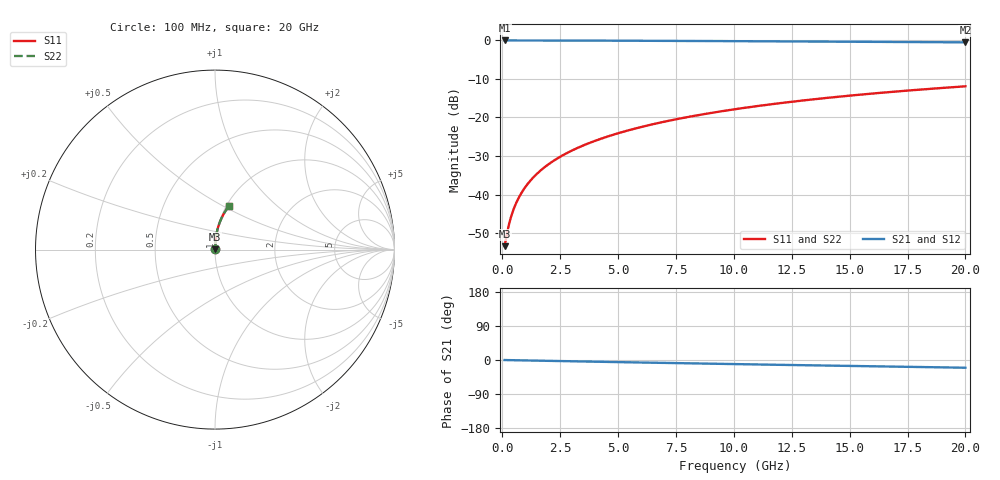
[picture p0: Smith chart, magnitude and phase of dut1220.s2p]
! Touchstone file exported from HFSS 2024.1.0
!  File:  C:/UserFiles/LocalFiles/RDL_TSV_Batchsim/temp_RDL_bottom_1220_1780244093.aedt
!  Generated:  12:17:34 AM Jun  1, 2026
!  Design:  RDL_bottom
!  Project:  temp_RDL_bottom_1220_1780244093
!  Setup:  Setup1
!  Solution:  Sweep
! Variables:
!  dtsv = 10.80580581um
!  hbump = 3um
!  htsv = 97.35um
!  ldown = 216.9um
!  lrdl = 100um
!  p = 40
!  p1 = 55.36um
!  rhole = 1um
!  t = 450um
!  tdown = 3.05um
!  trdl = 3.915915916um
!  wdown = 16.96um
!  wrdl = 20um
# GHz S MA R 50.000000
! Terminal data exported
! Port[1] = RDL1_T1
! Port[2] = RDL1_T2
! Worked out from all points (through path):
!   200 points, 100 MHz to 20 GHz, reference 50 ohm
!   highest |S21| = -0.01 dB at 100 MHz (marker M1); lowest = -0.5 dB at 20 GHz (marker M2)
!   group delay of S21, straight-line fit = 2.82 ps
!   lowest |S11| = -53.4 dB at 100 MHz (marker M3), VSWR 1.00, Z = 50.2 + j0.129 ohm
!   |S11| at or under -10 dB: start of sweep to end of sweep
!   |S22| runs from -53.4 to -11.9 dB; largest |S21 - S12| = 2.8e-15
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0.1  0.002138 37.1  0.9983 -0.1  0.9983 -0.1  0.002138 37.1
! Gamma 0 0 0 0
! Port Impedance 50 0 50 0
0.2  0.003102 55.9  0.9983 -0.2  0.9983 -0.2  0.003102 55.9
0.3  0.004226 65.0  0.9982 -0.3  0.9982 -0.3  0.004226 65.0
0.4  0.005396 70.1  0.9981 -0.5  0.9981 -0.5  0.005396 70.1
0.5  0.006582 73.3  0.9981 -0.6  0.9981 -0.6  0.006582 73.3
0.6  0.007773 75.6  0.998 -0.7  0.998 -0.7  0.007773 75.6
0.8  0.01017 78.6  0.9979 -0.9  0.9979 -0.9  0.01017 78.6
1.1  0.01378 81.2  0.9977 -1.3  0.9977 -1.3  0.01378 81.2
1.5  0.01864 83.1  0.9973 -1.7  0.9973 -1.7  0.01864 83.1
1.8  0.02231 84.0  0.9971 -2.0  0.9971 -2.0  0.02231 84.0
2.1  0.02599 84.5  0.9967 -2.4  0.9967 -2.4  0.02599 84.5
2.7  0.03341 85.2  0.996 -3.1  0.996 -3.1  0.03341 85.2
3.5  0.04339 85.6  0.9947 -3.9  0.9947 -3.9  0.04339 85.6
4.2  0.0522 85.6  0.9934 -4.7  0.9934 -4.7  0.0522 85.6
5  0.06237 85.4  0.9917 -5.6  0.9917 -5.6  0.06238 85.4
5.9  0.07392 85.0  0.9895 -6.5  0.9895 -6.5  0.07393 85.0
6.8  0.08557 84.5  0.9872 -7.5  0.9872 -7.5  0.08557 84.5
8.3  0.1051 83.5  0.983 -9.1  0.983 -9.1  0.1051 83.5
10.1  0.1286 81.9  0.9776 -10.9  0.9776 -10.9  0.1287 82.0
13.4  0.1715 78.9  0.9669 -14.1  0.9669 -14.1  0.1715 78.9
16.7  0.2133 75.6  0.9554 -17.3  0.9554 -17.3  0.2133 75.6
20  0.2536 72.4  0.9431 -20.4  0.9431 -20.4  0.2536 72.4
